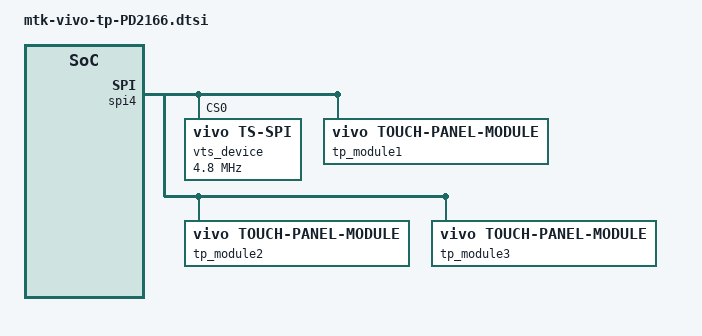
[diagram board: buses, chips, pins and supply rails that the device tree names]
&pio {
	pd2166_clk_spi_mode: clk_mode_default {
		pins_cmd_dat {
			pinmux = <PINMUX_GPIO97__FUNC_SPI4_CLK>;
			drive-strength = <1>;
		};
	};

	pd2166_mosi_spi_mode: mosi_mode_default {
		pins_cmd_dat {
			pinmux = <PINMUX_GPIO13__FUNC_SPI4_MO>;
			drive-strength = <0>;
		};
	};
};

&spi4 {
	status = "okay";
	vts_device@0 {
		compatible = "vivo,ts-spi";
		status = "okay";
		reg=<0>;
		spi-max-frequency = <4800000>;
		pinctrl-names = "default";
		pinctrl-0 = <&pd2166_clk_spi_mode &pd2166_mosi_spi_mode>;

		nt36525B {
			compatible = "novatek,NVT-ts-spi-v2";
			status = "ok";
			vts-type=<0>;
			vts-ic-number=<82>;
			spi-max-frequency = <9600000>;  //4800000,9600000,15000000,19200000
			spi-cs-setuptime = <27>;
			//novatek,reset-gpio = <&pio 186 0x00>;
			novatek,irq-gpio = <&pio 14 0x2001>;
			novatek,cs-gpio = <&pio 98 0x00>;
			//novatek,miso-gpio = <&pio 12 0x00>;
			sensor-test-key="com.nttouchscreen.mptest:MainActivity:android.intent.action.novatek:0:testResult";
			lcm-noise-test-key="com.nt36xxxtouchscreen.deltadiff:MainActivity:null:null:null";
			rawdata-test-key="com.nttouchscreen.getdata:MainActivity:null:null:null";
			rf-noise-test-key="com.nt36xxxtouchscreen.deltadiff:BspTest:android.intent.action.nvtdeltadiff:0:testResult";

			novatek,swrst-n8-addr = <0x03F0FE>;
		};

		nt36672 {
			compatible = "novatek,NVT-ts-spi-v2";
			status = "ok";

			vts-type=<0>;
			vts-ic-number=<81>;
			spi-max-frequency = <9600000>;	//4800000,9600000,15000000,19200000
			novatek,reset-gpio = <&pio 186 0x00>;
			novatek,irq-gpio = <&pio 14 0x2001>;
			novatek,cs-gpio = <&pio 98 0x00>;
			//novatek,miso-gpio = <&pio 12 0x00>;
			sensor-test-key="com.nttouchscreen.mptest:MainActivity:android.intent.action.novatek:0:testResult";
			lcm-noise-test-key="com.nt36xxxtouchscreen.deltadiff:MainActivity:null:null:null";
			rawdata-test-key="com.nttouchscreen.getdata:MainActivity:null:null:null";
			rf-noise-test-key="com.nt36xxxtouchscreen.deltadiff:BspTest:android.intent.action.nvtdeltadiff:0:testResult";
			
			novatek,swrst-n8-addr = <0x03F0FE>;
		};
		
		ili_9882n {
			status = "okay";
			compatible = "tchip,ilitek";
			vts-type=<0>;
			vts-ic-number=<91>;
			spi-max-frequency = <9600000>;
			touch,reset-gpio = <&pio 186 0x00>;
			touch,irq-gpio = <&pio 14 0x2001>;

			sensor-test-key="com.ilitek.touchscreen.tptest3X:MP3XActivity:com.ilitek.touchscreen.action.tptest:0:ILITEK_TpTestResult";
			lcm-noise-test-key="com.ilitek.touchscreen.noisev2:MainActivity:null:null:null"; 
			rawdata-test-key="com.ilitek.touchscreen.noisev2:DataShowActivity:null:null:null";
			rf-noise-test-key="com.ilitek.touchscreen.noisev2:BspTestActivity:com.ilitek.touchscreen.action.noisetest:0:ILITEK_TpTestResult";
		};

		hx83112 {
			compatible = "himax,hx83112-spi-v2";
			status = "ok";
			vts-type=<0>;
			vts-ic-number=<101>;
			spi-max-frequency = <9600000>;	//4800000,9600000,15000000,19200000
			himax,rst-gpio = <&pio 186 0x00>;
			himax,irq-gpio = <&pio 14 22 0x2001>;
			himax,panel-coords = <0 1080 0 2408>;
			himax,display-coords = <0 1080 0 2408>;
			himax,tx-sensors = <18>;
			himax,rx-sensors = <36>;

			sensor-test-key="com.himax.mpap:MainActivity:android.intent.action.himax:0:testResult";
			lcm-noise-test-key="com.ln2.himaxtouch:RawdataRecord.HoppingNoiseGet:null:null:null";
			rawdata-test-key="com.ln2.himaxtouch:DataShowActivity:null:null:null";
			rf-noise-test-key="com.ln2.himaxtouch:BspTestActivity:android.intent.action.himax:0:testResult";
		};

		ft8719 {
			compatible = "focaltech,ft8719_v2";
			status = "okay";

			vts-type=<0>;
			vts-ic-number=<36>;
			spi-max-frequency = <6000000>;	//4800000,9600000,15000000,19200000
			focaltech,reset-gpio = <&pio 186 0x00>;
			focaltech,irq-gpio = <&pio 14 0x02>;
			//focaltech,cs-gpio = <&pio 21 0x00>;
			focaltech,max-touch-number = <10>;
			focaltech,display-coords = <0 0 1080 2408>;

			sensor-test-key="com.focaltouchscreen.sensortest:MainActivity:com.focaltouchscreen.sensortest:0:focal_test_result";
			lcm-noise-test-key="com.focaltech.deltadiff:MainActivity:null:null:null";
			rawdata-test-key="com.focaltech.deltadiff:DataActivity:null:null:null";
			rf-noise-test-key="com.focaltech.deltadiff:BspTestActivity:com.focaltech.deltadiff:0:testResult";
		};

		chipone {
			compatible = "chipone,cts_nl9911c_spi";
			status = "ok";
			vts-type=<0>;
			vts-ic-number=<110>;
			spi-max-frequency = <9600000>;	//4800000,9600000,15000000,19200000
			chipone,rst-gpio = <&pio 186 0x00>;
			chipone,cs-gpio = <&pio 21 0x00>;
			chipone,miso-gpio = <&pio 12 0x00>;
			chipone,irq-gpio = <&pio 14 0x2001>;
			chipone,x-res = <720>;
			chipone,y-res = <1600>;
			
			sensor-test-key="com.touchscreen.chipone:MainActivity:android.intent.action.chipone:0:testResult";
			rawdata-test-key="com.touchscreen.chipone.icnl9911c:DataShowActivity:null:null:null";
			lcm-noise-test-key="com.touchscreen.chipone.vivo_noise:NoiseActivity:null:null:null";
			rf-noise-test-key="com.touchscreen.chipone.vivo_noise:BspTestActivity:action_noise_test:0:result";
		};
	};

	tp_module1 {
		compatible = "vivo,touch-panel-module";
		vts-ic-number=<82>;
		vts-type=<0>;
		vts-lcmid=<48>;// 0x30 BOE NT36525B 1211806
		vts-dimention-x=<720>;
		vts-dimention-y=<1600>;
		vts-tx-sensors=<18>;
		vts-rx-sensors=<32>;
		vts-incell=<1>;
		vts-need-caliberation=<0>;
		vts-virtual-proximinity=<0>;
		vts-long-press=<0>;
		vts-module-vendor=<0xF0>;
		vts-no-flash=<1>;
		vts-gesture=<1>;
		vts-input-method=<1>;
	};

	tp_module2 {
		compatible = "vivo,touch-panel-module";
		vts-ic-number=<91>;
		vts-type=<0>;
		vts-lcmid=<96>;//0x60 INX  ili9882Q 1211781
		vts-dimention-x=<720>;
		vts-dimention-y=<1600>;
		vts-tx-sensors=<18>;
		vts-rx-sensors=<32>;
		vts-incell=<1>;
		vts-need-caliberation=<0>;
		vts-virtual-proximinity=<0>;
		vts-long-press=<0>;
		vts-module-vendor=<0xF0>;
		vts-no-flash=<1>;
		vts-gesture=<1>;
	};

	tp_module3{
		compatible = "vivo,touch-panel-module";
		vts-ic-number=<110>;
		vts-type=<0>;
		vts-lcmid=<17>;// 0x11 INCL 9911  1211780  
		vts-dimention-x=<720>;
		vts-dimention-y=<1600>;
		vts-tx-sensors=<18>;
		vts-rx-sensors=<32>;
		vts-incell=<1>;
		vts-need-caliberation=<0>;
		vts-virtual-proximinity=<0>;
		vts-long-press=<0>;
		vts-module-vendor=<0xF0>;
		vts-no-flash=<1>;
		//vts-sleep-time=<50>;
		vts-game-mode=<1>;
		vts-game-idle-time=<10>;
		vts-no-flash-unique-code=<1>;
	};

};
